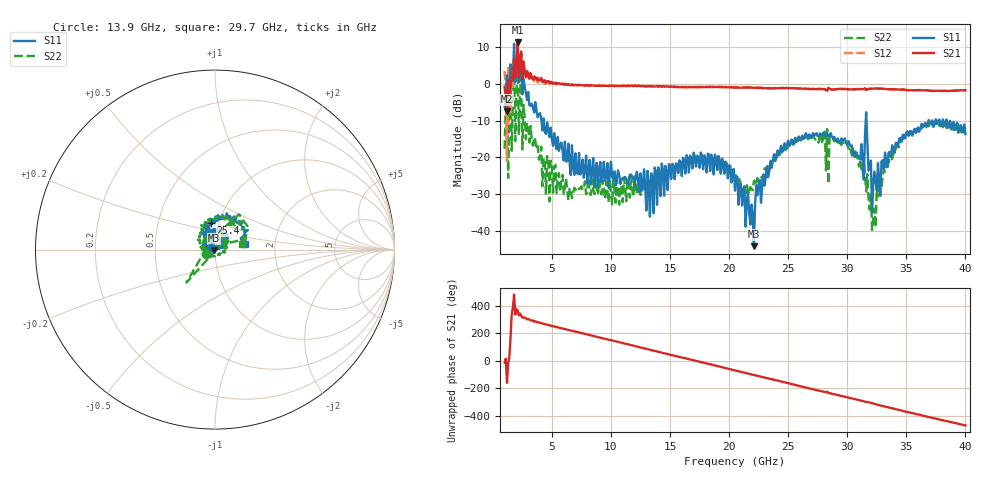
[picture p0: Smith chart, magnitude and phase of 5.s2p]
!Keysight Technologies,N5224A,MY55441802,A.10.65.16
!Date: Wednesday, May 13, 2026 19:18:24
!Correction: S11(Full 2 Port(1,2))
!S21(Full 2 Port(1,2))
!S12(Full 2 Port(1,2))
!S22(Full 2 Port(1,2))
!S2P File: Measurements: S11, S21, S12, S22:
# Hz S  dB  R 50
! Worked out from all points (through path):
!   391 points, 1 GHz to 40 GHz, reference 50 ohm
!   highest |S21| = 11.41 dB at 2.1 GHz (marker M1); lowest = -7.5 dB at 1.2 GHz (marker M2)
!   lowest |S11| = -44.2 dB at 22.1 GHz (marker M3), VSWR 1.01, Z = 49.5 - j0.296 ohm
!   |S11| at or under -10 dB: 4.316 GHz to 31.57 GHz (27.25 GHz wide, 152 % of centre); 31.63 GHz to 36.88 GHz (5.254 GHz wide, 15.3 % of centre); 38.41 GHz to end of sweep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
!   |S22| runs from -39.8 to 7.0 dB; largest |S21 - S12| = 0.85
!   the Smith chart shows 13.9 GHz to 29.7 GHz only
!   S11 on the Smith chart (normalised r, x): 13.9 GHz: 0.96, +0.02; 25.4 GHz: 0.92, +0.28; 29.7 GHz: 1.39, +0.09
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1e9  -6.18 -39.4  -0.87 -13.2  3.40 -8.4  -17.70 -33.1
1.2e9  2.30 -3.0  -7.47 -161.1  -21.04 -124.0  1.21 -22.3
1.4e9  -1.40 154.9  -2.77 25.1  -1.39 1.5  -5.41 32.5
1.5e9  5.30 -12.4  -0.37 166.8  -7.84 164.2  3.21 -32.8
1.7e9  0.77 138.4  1.09 26.2  -0.75 0.9  -4.23 6.5
1.8e9  10.89 -39.3  6.77 123.5  4.02 117.9  6.99 -63.3
2e9  4.32 119.4  4.57 18.3  1.38 1.6  -2.12 -17.2
2.1e9  11.80 -156.6  11.41 6.9  10.37 -4.5  6.61 -173.5
2.2e9  0.48 -32.3  1.67 -28.4  3.16 -27.5  -13.66 39.0
2.4e9  8.34 165.6  8.86 -28.9  8.54 -37.0  1.94 148.2
2.6e9  1.30 36.7  6.11 -44.2  2.96 -47.5  -5.71 -101.2
2.7e9  -0.71 158.2  3.25 -43.0  3.93 -49.2  -9.07 149.9
7.5e9  -24.03 72.4  -0.40 -157.6  -0.34 -156.9  -27.89 77.5
1.39e10  -32.90 157.1  -0.65 68.4  -0.70 68.0  -25.20 -150.7
1.4e10  -22.70 140.3  -0.75 66.2  -0.72 66.4  -25.32 -165.9
2.05e10  -29.04 36.2  -1.06 -69.6  -0.96 -69.5  -26.63 -9.2
2.21e10  -44.18 -151.1  -1.05 -102.9  -1.01 -103.4  -26.46 -119.4
2.54e10  -16.53 98.6  -1.19 -171.5  -1.14 -171.7  -15.72 110.3
2.7e10  -14.43 55.9  -1.41 155.3  -1.36 155.3  -14.68 64.2
2.97e10  -15.45 11.1  -1.41 100.0  -1.40 100.3  -16.29 11.2
3.35e10  -18.72 74.0  -1.45 20.6  -1.45 20.5  -21.45 108.2
4e10  -13.71 -4.1  -1.72 -110.9  -1.77 -111.4  -11.85 -31.4
